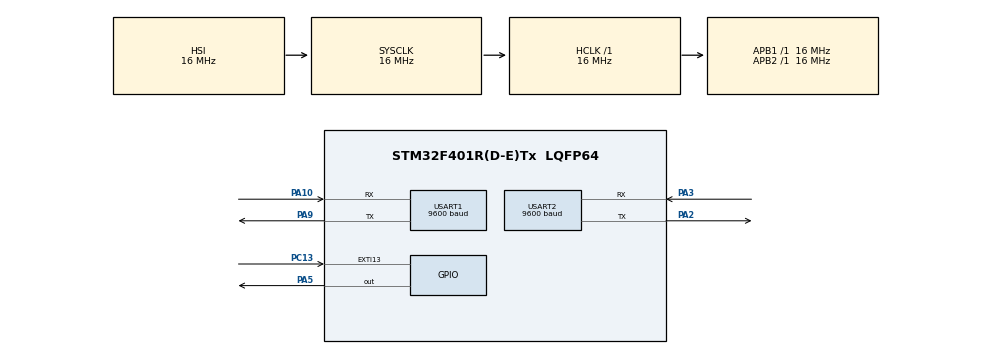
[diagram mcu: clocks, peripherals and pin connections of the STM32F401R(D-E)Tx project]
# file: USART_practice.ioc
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Mcu.Family=STM32F4
Mcu.Name=STM32F401R(D-E)Tx
Mcu.Package=LQFP64
NVIC.EXTI15_10_IRQn=true\:1\:0\:true\:false\:true\:true\:true
NVIC.PriorityGroup=NVIC_PRIORITYGROUP_4
NVIC.USART1_IRQn=true\:1\:0\:true\:false\:true\:true\:true
NVIC.USART2_IRQn=true\:1\:0\:true\:false\:true\:true\:true
PA10.Mode=Asynchronous
PA10.Signal=USART1_RX
PA2.Mode=Asynchronous
PA2.Signal=USART2_TX
PA3.Mode=Asynchronous
PA3.Signal=USART2_RX
PA5.PinState=GPIO_PIN_SET
PA5.Signal=GPIO_Output
PA9.Mode=Asynchronous
PA9.Signal=USART1_TX
PC13-ANTI_TAMP.GPIO_ModeDefaultEXTI=GPIO_MODE_IT_FALLING
PC13-ANTI_TAMP.Signal=GPXTI13
ProjectManager.HeapSize=0x200
ProjectManager.StackSize=0x400
ProjectManager.TargetToolchain=TrueSTUDIO
RCC.AHBFreq_Value=16000000
RCC.APB1Freq_Value=16000000
RCC.APB2Freq_Value=16000000
RCC.CortexFreq_Value=16000000
RCC.HSE_VALUE=25000000
RCC.HSI_VALUE=16000000
RCC.LSE_VALUE=32768
RCC.SYSCLKFreq_VALUE=16000000
RCC.VCOOutputFreq_Value=192000000
USART1.BaudRate=9600
USART1.VirtualMode=VM_ASYNC
USART2.BaudRate=9600
USART2.VirtualMode=VM_ASYNC
board=custom

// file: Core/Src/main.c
/* USER CODE BEGIN Header */
/**
  ******************************************************************************
  * @file           : main.c
  * @brief          : Main program body
  ******************************************************************************
  * @attention
  *
  * <h2><center>&copy; Copyright (c) 2021 STMicroelectronics.
  * All rights reserved.</center></h2>
  *
  * This software component is licensed by ST under BSD 3-Clause license,
  * the "License"; You may not use this file except in compliance with the
  * License. You may obtain a copy of the License at:
  *                        opensource.org/licenses/BSD-3-Clause
  *
  ******************************************************************************
　　2021/7/3
  仕様：・mbedの青いボタンを押したときに、UART通信を行い、文字を出力するプログラム
  	  　・最初に「START,TEST,TART」を表示
 　　　　　・ボタンを押すと、「Push」と表示
  	  ・LEDを点灯する。
  使用マイコン：nucleo f401re

  */
/* USER CODE END Header */
#include "main.h"

/* USER CODE BEGIN Includes */

//ファイルのインクルード
#include "string.h"

/* USER CODE END Includes */

UART_HandleTypeDef huart1;
UART_HandleTypeDef huart2;

void SystemClock_Config(void);
static void MX_GPIO_Init(void);
static void MX_USART1_UART_Init(void);
static void MX_USART2_UART_Init(void);

/* USER CODE BEGIN 0 */
//変数宣言
 __IO uint8_t Pushed;  //スイッチの変数

/* USER CODE END 0 */

int main(void)
{
  /* USER CODE BEGIN 1 */
	//Pushedの初期化
	Pushed = 0;
  /* USER CODE END 1 */

  /* MCU Configuration--------------------------------------------------------*/

  /* Reset of all peripherals, Initializes the Flash interface and the Systick. */
  HAL_Init();

  /* Configure the system clock */
  SystemClock_Config();

  /* Initialize all configured peripherals */
  MX_GPIO_Init();
  MX_USART1_UART_Init();
  MX_USART2_UART_Init();
  /* USER CODE BEGIN 2 */

  //uint8_t data1[] = "UART1";
  uint8_t data2[10][10] = {"START\r\n","TEST\r\n","Push\r\n","123456789"}; //\r\n ：改行
  //uint8_t data4[10] = {"START\r\n","TEST\r\n","Push\r\n","123456789"}; //\r\n ：改行
  //uint8_t data3[][] = {"START\r\n","TEST\r\n","Push\r\n","123456789"}; //\r\n ：改行
  //&data2[0][0]だと、START、TESTの先頭から5文字送信
  //&data2[0][1]だと、START、TESTの先頭2文字目から5文字送信（TARTT）
  HAL_UART_Transmit(&huart2,&data2[0][0],10,100); //STARTを送信
  HAL_UART_Transmit(&huart2,&data2[0][0],sizeof(data2[0]),100); //STARTを送信
  HAL_UART_Transmit(&huart2,&data2[1][0],10,100); //TESTを送信
  HAL_UART_Transmit(&huart2,&data2[1][0],sizeof(data2[1]),100); //TESTを送信
  HAL_UART_Transmit(&huart2,&data2[0][1],5,100); //START、TESTの先頭2文字目から5文字送信（表示文字TART）
  //HAL_UART_Transmit(&huart2,&data2[3][0],5,100); →5文字に対して、SuperTestが長すぎる。
  //HAL_UART_Transmit(&huart1,data1,strlen((char*)data1),100);

  /* USER CODE END 2 */

  /* Infinite loop */
  while (1)
  {
    /* USER CODE BEGIN 3 */
	  //Pushedの初期化
	  if(Pushed == 1){
		  HAL_UART_Transmit(&huart2,&data2[2][0],10,100);
		  Pushed = 0;
	  }
  }
  /* USER CODE END 3 */
}

void SystemClock_Config(void)
{
  RCC_OscInitTypeDef RCC_OscInitStruct = {0};
  RCC_ClkInitTypeDef RCC_ClkInitStruct = {0};

  /** Configure the main internal regulator output voltage
  */
  __HAL_RCC_PWR_CLK_ENABLE();
  __HAL_PWR_VOLTAGESCALING_CONFIG(PWR_REGULATOR_VOLTAGE_SCALE2);
  /** Initializes the RCC Oscillators according to the specified parameters
  * in the RCC_OscInitTypeDef structure.
  */
  RCC_OscInitStruct.OscillatorType = RCC_OSCILLATORTYPE_HSI;
  RCC_OscInitStruct.HSIState = RCC_HSI_ON;
  RCC_OscInitStruct.HSICalibrationValue = RCC_HSICALIBRATION_DEFAULT;
  RCC_OscInitStruct.PLL.PLLState = RCC_PLL_NONE;
  if (HAL_RCC_OscConfig(&RCC_OscInitStruct) != HAL_OK)
  {
    Error_Handler();
  }
  /** Initializes the CPU, AHB and APB buses clocks
  */
  RCC_ClkInitStruct.ClockType = RCC_CLOCKTYPE_HCLK|RCC_CLOCKTYPE_SYSCLK
                              |RCC_CLOCKTYPE_PCLK1|RCC_CLOCKTYPE_PCLK2;
  RCC_ClkInitStruct.SYSCLKSource = RCC_SYSCLKSOURCE_HSI;
  RCC_ClkInitStruct.AHBCLKDivider = RCC_SYSCLK_DIV1;
  RCC_ClkInitStruct.APB1CLKDivider = RCC_HCLK_DIV1;
  RCC_ClkInitStruct.APB2CLKDivider = RCC_HCLK_DIV1;

  if (HAL_RCC_ClockConfig(&RCC_ClkInitStruct, FLASH_LATENCY_0) != HAL_OK)
  {
    Error_Handler();
  }
}

static void MX_USART1_UART_Init(void)
{

  huart1.Instance = USART1;
  huart1.Init.BaudRate = 9600;
  huart1.Init.WordLength = UART_WORDLENGTH_8B;
  huart1.Init.StopBits = UART_STOPBITS_1;
  huart1.Init.Parity = UART_PARITY_NONE;
  huart1.Init.Mode = UART_MODE_TX_RX;
  huart1.Init.HwFlowCtl = UART_HWCONTROL_NONE;
  huart1.Init.OverSampling = UART_OVERSAMPLING_16;
  if (HAL_UART_Init(&huart1) != HAL_OK)
  {
    Error_Handler();
  }

}

static void MX_USART2_UART_Init(void)
{

  huart2.Instance = USART2;
  huart2.Init.BaudRate = 9600;
  huart2.Init.WordLength = UART_WORDLENGTH_8B;
  huart2.Init.StopBits = UART_STOPBITS_1;
  huart2.Init.Parity = UART_PARITY_NONE;
  huart2.Init.Mode = UART_MODE_TX_RX;
  huart2.Init.HwFlowCtl = UART_HWCONTROL_NONE;
  huart2.Init.OverSampling = UART_OVERSAMPLING_16;
  if (HAL_UART_Init(&huart2) != HAL_OK)
  {
    Error_Handler();
  }

}

static void MX_GPIO_Init(void)
{
  GPIO_InitTypeDef GPIO_InitStruct = {0};

  /* GPIO Ports Clock Enable */
  __HAL_RCC_GPIOC_CLK_ENABLE();
  __HAL_RCC_GPIOA_CLK_ENABLE();

  /*Configure GPIO pin Output Level */
  HAL_GPIO_WritePin(GPIOA, GPIO_PIN_5, GPIO_PIN_SET);

  /*Configure GPIO pin : PC13 */
  GPIO_InitStruct.Pin = GPIO_PIN_13;
  GPIO_InitStruct.Mode = GPIO_MODE_IT_FALLING;
  GPIO_InitStruct.Pull = GPIO_NOPULL;
  HAL_GPIO_Init(GPIOC, &GPIO_InitStruct);

  /*Configure GPIO pin : PA5 */
  GPIO_InitStruct.Pin = GPIO_PIN_5;
  GPIO_InitStruct.Mode = GPIO_MODE_OUTPUT_PP;
  GPIO_InitStruct.Pull = GPIO_NOPULL;
  GPIO_InitStruct.Speed = GPIO_SPEED_FREQ_LOW;
  HAL_GPIO_Init(GPIOA, &GPIO_InitStruct);

  /* EXTI interrupt init*/
  HAL_NVIC_SetPriority(EXTI15_10_IRQn, 1, 0);
  HAL_NVIC_EnableIRQ(EXTI15_10_IRQn);

}

/* USER CODE BEGIN 4 */

//割り込み処理
//Pusedの割り込み処理
void HAL_GPIO_EXTI_Callback(uint16_t GPIO_Pin)
{
	//GPIOのPIN_13がONになったら
	if(GPIO_Pin == GPIO_PIN_13)
	{
		//Pushed=1に変更する。
		Pushed = 1;
	}
}

/* USER CODE END 4 */

void Error_Handler(void)
{
  __disable_irq();
  while (1)
  {
  }
}

/************************ (C) COPYRIGHT STMicroelectronics *****END OF FILE****/
